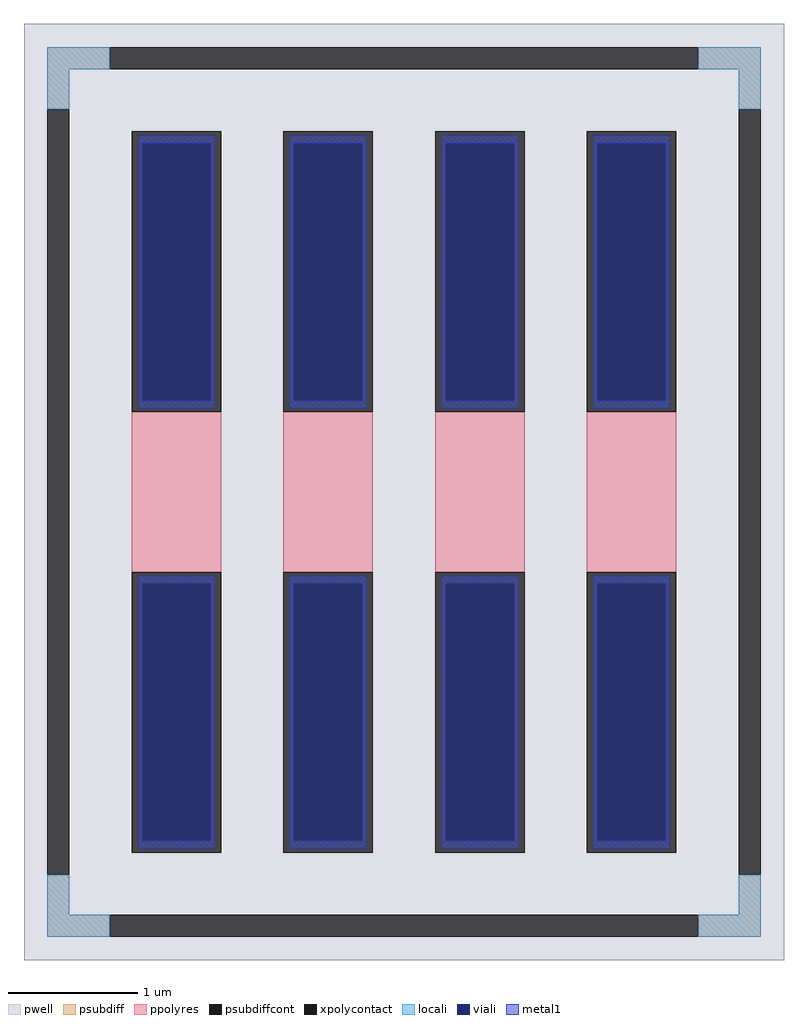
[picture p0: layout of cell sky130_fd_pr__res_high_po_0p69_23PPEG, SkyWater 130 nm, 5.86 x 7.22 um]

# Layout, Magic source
magic
tech sky130A
magscale 1 2
<< pwell >>
rect -586 -722 586 722
<< psubdiff >>
rect -550 652 -454 686
rect 454 652 550 686
rect -550 590 -516 652
rect 516 590 550 652
rect -550 -652 -516 -590
rect 516 -652 550 -590
rect -550 -686 -454 -652
rect 454 -686 550 -652
<< psubdiffcont >>
rect -454 652 454 686
rect -550 -590 -516 590
rect 516 -590 550 590
rect -454 -686 454 -652
<< xpolycontact >>
rect -420 124 -282 556
rect -420 -556 -282 -124
rect -186 124 -48 556
rect -186 -556 -48 -124
rect 48 124 186 556
rect 48 -556 186 -124
rect 282 124 420 556
rect 282 -556 420 -124
<< ppolyres >>
rect -420 -124 -282 124
rect -186 -124 -48 124
rect 48 -124 186 124
rect 282 -124 420 124
<< locali >>
rect -550 652 -454 686
rect 454 652 550 686
rect -550 590 -516 652
rect 516 590 550 652
rect -550 -652 -516 -590
rect 516 -652 550 -590
rect -550 -686 -454 -652
rect 454 -686 550 -652
<< viali >>
rect -404 141 -298 538
rect -170 141 -64 538
rect 64 141 170 538
rect 298 141 404 538
rect -404 -538 -298 -141
rect -170 -538 -64 -141
rect 64 -538 170 -141
rect 298 -538 404 -141
<< metal1 >>
rect -410 538 -292 550
rect -410 141 -404 538
rect -298 141 -292 538
rect -410 129 -292 141
rect -176 538 -58 550
rect -176 141 -170 538
rect -64 141 -58 538
rect -176 129 -58 141
rect 58 538 176 550
rect 58 141 64 538
rect 170 141 176 538
rect 58 129 176 141
rect 292 538 410 550
rect 292 141 298 538
rect 404 141 410 538
rect 292 129 410 141
rect -410 -141 -292 -129
rect -410 -538 -404 -141
rect -298 -538 -292 -141
rect -410 -550 -292 -538
rect -176 -141 -58 -129
rect -176 -538 -170 -141
rect -64 -538 -58 -141
rect -176 -550 -58 -538
rect 58 -141 176 -129
rect 58 -538 64 -141
rect 170 -538 176 -141
rect 58 -550 176 -538
rect 292 -141 410 -129
rect 292 -538 298 -141
rect 404 -538 410 -141
rect 292 -550 410 -538
<< properties >>
string FIXED_BBOX -533 -669 533 669
string gencell sky130_fd_pr__res_high_po_0p69
string library sky130
string parameters w 0.690 l 1.4 m 1 nx 4 wmin 0.690 lmin 0.50 rho 319.8 val 1.213k dummy 0 dw 0.0 term 194.82 sterm 0.0 caplen 0 guard 1 glc 1 grc 1 gtc 1 gbc 1 compatible {sky130_fd_pr__res_high_po_0p35  sky130_fd_pr__res_high_po_0p69 sky130_fd_pr__res_high_po_1p41  sky130_fd_pr__res_high_po_2p85 sky130_fd_pr__res_high_po_5p73} snake 0 full_metal 1 wmax 0.690 n_guard 0 hv_guard 0 vias 1 viagb 0 viagt 0 viagl 0 viagr 0
<< end >>
